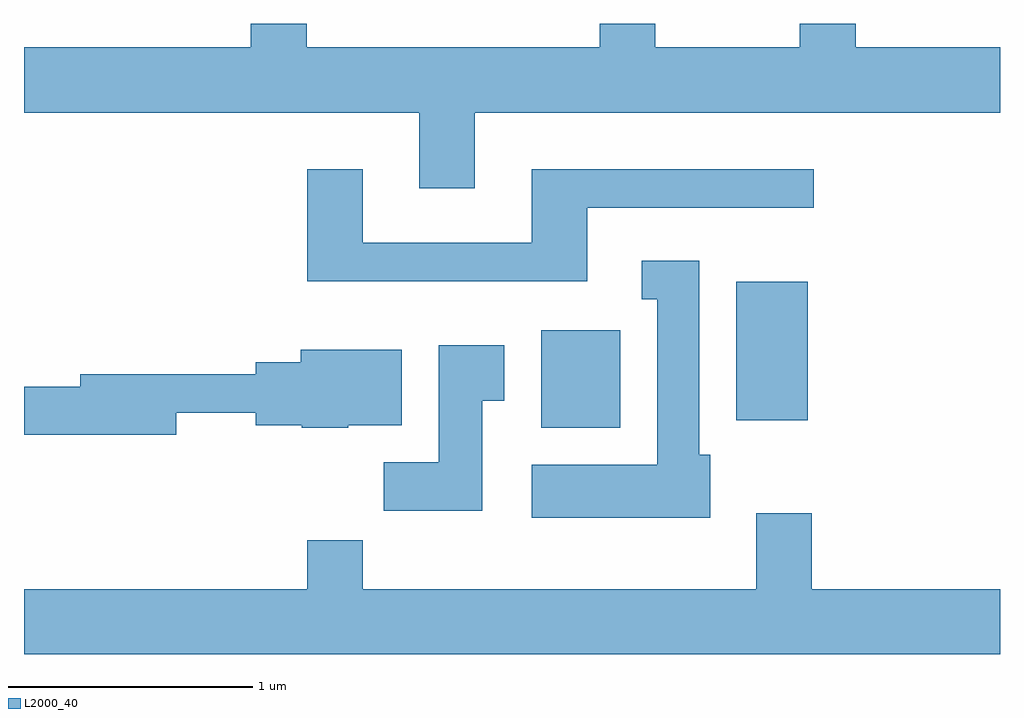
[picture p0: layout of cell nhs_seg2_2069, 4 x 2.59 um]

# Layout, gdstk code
import gdstk
lib = gdstk.Library(unit=1e-6, precision=1e-09)
def R(c, l, rs):  # rectangles x0, y0, x1, y1
    for r in rs: c.add(gdstk.rectangle(r[:2], r[2:], *l))
def P(c, l, *ps):  # polygons
    for p in ps: c.add(gdstk.Polygon(p, *l))
L2000_40 = (2000, 40)

nhs_seg2_2069 = lib.new_cell('nhs_seg2_2069')
R(nhs_seg2_2069, L2000_40, [(247.731,1038.146,248.054,1038.544), (248.531,1038.176,248.824,1038.744)])
P(nhs_seg2_2069, L2000_40, [(247.459,1039.436),(249.611,1039.436),(249.611,1039.704),(249.019,1039.704),(249.019,1039.802),(248.791,1039.802),(248.791,1039.704),(248.199,1039.704),(248.199,1039.802),(247.971,1039.802),(247.971,1039.704),(246.769,1039.704),(246.769,1039.802),(246.541,1039.802),(246.541,1039.704),(245.611,1039.704),(245.611,1039.436),(247.231,1039.436),(247.231,1039.126),(247.459,1039.126)],
  [(247.919,1039.046),(248.848,1039.046),(248.848,1039.204),(247.691,1039.204),(247.691,1038.904),(246.999,1038.904),(246.999,1039.204),(246.771,1039.204),(246.771,1038.746),(247.919,1038.746)],
  [(248.424,1038.034),(248.379,1038.034),(248.379,1038.829),(248.143,1038.829),(248.143,1038.671),(248.206,1038.671),(248.206,1037.994),(247.691,1037.994),(247.691,1037.776),(248.424,1037.776)],
  [(247.489,1038.256),(247.579,1038.256),(247.579,1038.484),(247.311,1038.484),(247.311,1038.004),(247.086,1038.004),(247.086,1037.806),(247.489,1037.806)],
  [(246.234,1038.206),(246.561,1038.206),(246.561,1038.156),(246.75,1038.156),(246.75,1038.146),(246.94,1038.146),(246.94,1038.156),(247.159,1038.156),(247.159,1038.464),(246.746,1038.464),(246.746,1038.414),(246.561,1038.414),(246.561,1038.364),(245.841,1038.364),(245.841,1038.314),(245.611,1038.314),(245.611,1038.116),(246.234,1038.116)],
  [(249.611,1037.484),(248.839,1037.484),(248.839,1037.794),(248.611,1037.794),(248.611,1037.484),(246.999,1037.484),(246.999,1037.684),(246.771,1037.684),(246.771,1037.484),(245.611,1037.484),(245.611,1037.216),(249.611,1037.216)])

lib.write_gds('nhs_seg2_2069.gds')
